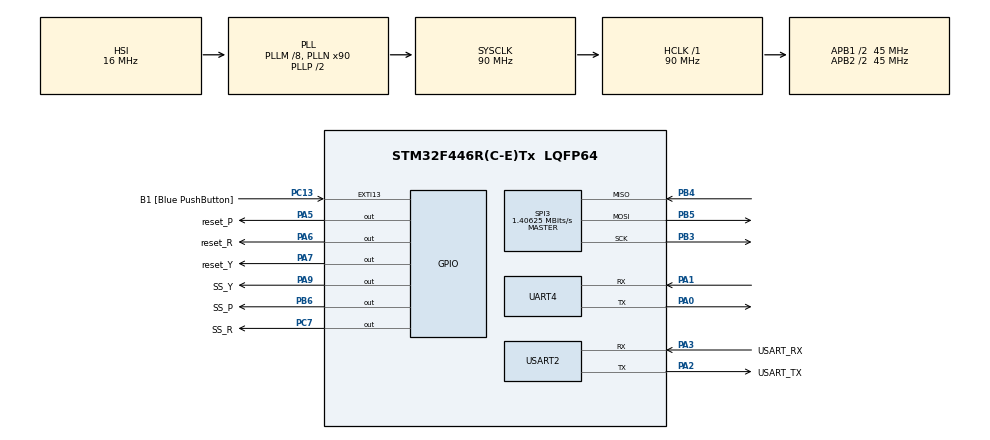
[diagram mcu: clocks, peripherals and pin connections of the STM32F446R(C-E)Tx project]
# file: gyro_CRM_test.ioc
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Mcu.Family=STM32F4
Mcu.Name=STM32F446R(C-E)Tx
Mcu.Package=LQFP64
NVIC.PriorityGroup=NVIC_PRIORITYGROUP_0
NVIC.TIM2_IRQn=true\:0\:0\:false\:false\:true\:true\:true
PA0-WKUP.Mode=Asynchronous
PA0-WKUP.Signal=UART4_TX
PA1.Mode=Asynchronous
PA1.Signal=UART4_RX
PA13.GPIO_Label=TMS
PA13.Mode=Serial_Wire
PA13.Signal=SYS_JTMS-SWDIO
PA14.GPIO_Label=TCK
PA14.Mode=Serial_Wire
PA14.Signal=SYS_JTCK-SWCLK
PA2.GPIO_Label=USART_TX
PA2.Mode=Asynchronous
PA2.Signal=USART2_TX
PA3.GPIO_Label=USART_RX
PA3.Mode=Asynchronous
PA3.Signal=USART2_RX
PA5.GPIO_Label=reset_P
PA5.GPIO_Speed=GPIO_SPEED_FREQ_VERY_HIGH
PA5.PinState=GPIO_PIN_SET
PA5.Signal=GPIO_Output
PA6.GPIO_Label=reset_R
PA6.GPIO_Speed=GPIO_SPEED_FREQ_VERY_HIGH
PA6.PinState=GPIO_PIN_SET
PA6.Signal=GPIO_Output
PA7.GPIO_Label=reset_Y
PA7.GPIO_Speed=GPIO_SPEED_FREQ_VERY_HIGH
PA7.PinState=GPIO_PIN_SET
PA7.Signal=GPIO_Output
PA9.GPIO_Label=SS_Y
PA9.GPIO_Speed=GPIO_SPEED_FREQ_VERY_HIGH
PA9.PinState=GPIO_PIN_SET
PA9.Signal=GPIO_Output
PB3.Mode=Full_Duplex_Master
PB3.Signal=SPI3_SCK
PB4.Mode=Full_Duplex_Master
PB4.Signal=SPI3_MISO
PB5.Mode=Full_Duplex_Master
PB5.Signal=SPI3_MOSI
PB6.GPIO_Label=SS_P
PB6.GPIO_Speed=GPIO_SPEED_FREQ_VERY_HIGH
PB6.PinState=GPIO_PIN_SET
PB6.Signal=GPIO_Output
PC13.GPIO_Label=B1 [Blue PushButton]
PC13.GPIO_ModeDefaultEXTI=GPIO_MODE_IT_FALLING
PC13.Signal=GPXTI13
PC14-OSC32_IN.Mode=LSE-External-Oscillator
PC14-OSC32_IN.Signal=RCC_OSC32_IN
PC15-OSC32_OUT.Mode=LSE-External-Oscillator
PC15-OSC32_OUT.Signal=RCC_OSC32_OUT
PC7.GPIO_Label=SS_R
PC7.GPIO_Speed=GPIO_SPEED_FREQ_VERY_HIGH
PC7.PinState=GPIO_PIN_SET
PC7.Signal=GPIO_Output
PH0-OSC_IN.Mode=HSE-External-Oscillator
PH0-OSC_IN.Signal=RCC_OSC_IN
PH1-OSC_OUT.Mode=HSE-External-Oscillator
PH1-OSC_OUT.Signal=RCC_OSC_OUT
ProjectManager.HeapSize=0x200
ProjectManager.StackSize=0x400
ProjectManager.TargetToolchain=STM32CubeIDE
RCC.48MHZClocksFreq_Value=84000000
RCC.AHBFreq_Value=90000000
RCC.APB1CLKDivider=RCC_HCLK_DIV2
RCC.APB1Freq_Value=45000000
RCC.APB1TimFreq_Value=90000000
RCC.APB2CLKDivider=RCC_HCLK_DIV2
RCC.APB2Freq_Value=45000000
RCC.APB2TimFreq_Value=90000000
RCC.CortexFreq_Value=90000000
RCC.FLatency-AdvancedSettings=FLASH_LATENCY_2
RCC.HCLKFreq_Value=90000000
RCC.HSE_VALUE=8000000
RCC.HSI_VALUE=16000000
RCC.PLLM=8
RCC.PLLN=90
RCC.SYSCLKFreq_VALUE=90000000
RCC.SYSCLKSource=RCC_SYSCLKSOURCE_PLLCLK
RCC.USBFreq_Value=90000000
RCC.VCOOutputFreq_Value=180000000
SPI3.BaudRatePrescaler=SPI_BAUDRATEPRESCALER_32
SPI3.CRCCalculation=SPI_CRCCALCULATION_DISABLE
SPI3.CalculateBaudRate=1.40625 MBits/s
SPI3.Direction=SPI_DIRECTION_2LINES
SPI3.Mode=SPI_MODE_MASTER
SPI3.VirtualType=VM_MASTER
TIM2.AutoReloadPreload=TIM_AUTORELOAD_PRELOAD_ENABLE
TIM2.Period=19999
TIM2.Prescaler=90
UART4.VirtualMode=Asynchronous
USART2.VirtualMode=VM_ASYNC
VP_TIM2_VS_ClockSourceINT.Mode=Internal
board=NUCLEO-F446RE

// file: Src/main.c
/* USER CODE BEGIN Header */
/**
  ******************************************************************************
  * @file           : main.c
  * @brief          : Main program body
  ******************************************************************************
  * @attention
  *
  * <h2><center>&copy; Copyright (c) 2019 STMicroelectronics.
  * All rights reserved.</center></h2>
  *
  * This software component is licensed by ST under BSD 3-Clause license,
  * the "License"; You may not use this file except in compliance with the
  * License. You may obtain a copy of the License at:
  *                        opensource.org/licenses/BSD-3-Clause
  *
  ******************************************************************************
  */
/* USER CODE END Header */

#include "main.h"

/* USER CODE BEGIN Includes */
#include "stdio.h"
/* USER CODE END Includes */

SPI_HandleTypeDef hspi3;

TIM_HandleTypeDef htim2;

UART_HandleTypeDef huart4;
UART_HandleTypeDef huart2;

/* USER CODE BEGIN PV */

#ifdef __GNUC__
#define PUTCHAR_PROTOTYPE int __io_putchar(int ch)
#else
#define PUTCHAR_PROTOTYPE int fputc(int ch, FILE *f)
#endif /* __GNUC__ */
void __io_putchar(uint8_t ch) {
	HAL_UART_Transmit(&huart2, &ch, 1, 1);
	HAL_UART_Transmit(&huart4, &ch, 1, 1);
}

/* USER CODE END PV */

void SystemClock_Config(void);
static void MX_GPIO_Init(void);
static void MX_USART2_UART_Init(void);
static void MX_SPI3_Init(void);
static void MX_UART4_Init(void);
static void MX_TIM2_Init(void);

/* USER CODE BEGIN 0 */

//ジャイロと通信
HAL_StatusTypeDef data_transfer_CRM(
	SPI_HandleTypeDef* hspi, GPIO_TypeDef* GPIOx,uint16_t GPIO_Pin,
	const uint8_t command, uint8_t receive_data[],	uint32_t Timeout)
{
	uint8_t send_data[6] = { 0 };
	send_data[0] = command;
	send_data[5] = ~(send_data[0] + send_data[1] + send_data[2] + send_data[3] + send_data[4]); //CHECKSUM

	HAL_GPIO_WritePin(GPIOx, GPIO_Pin, GPIO_PIN_RESET);
	HAL_Delay(1);
	HAL_StatusTypeDef ret = HAL_SPI_TransmitReceive(hspi, send_data, receive_data,6, Timeout);
	HAL_Delay(1);
	HAL_GPIO_WritePin(GPIOx, GPIO_Pin, GPIO_PIN_SET);

	return ret;

}
/* USER CODE END 0 */

int main(void)
{

  /* MCU Configuration--------------------------------------------------------*/

  /* Reset of all peripherals, Initializes the Flash interface and the Systick. */
  HAL_Init();

  /* Configure the system clock */
  SystemClock_Config();

  /* Initialize all configured peripherals */
  MX_GPIO_Init();
  MX_USART2_UART_Init();
  MX_SPI3_Init();
  MX_UART4_Init();
  MX_TIM2_Init();
  /* USER CODE BEGIN 2 */

  printf("Hello CRM100 CRM200 test.\n");

  HAL_Delay(500);

  Roll = SetCRM_port(&hspi3, SS_R_GPIO_Port, SS_R_Pin, reset_R_GPIO_Port, reset_R_Pin);
  Pitch= SetCRM_port(&hspi3, SS_P_GPIO_Port, SS_P_Pin, reset_P_GPIO_Port, reset_P_Pin);
  Yaw  = SetCRM_port(&hspi3, SS_Y_GPIO_Port, SS_Y_Pin, reset_Y_GPIO_Port, reset_Y_Pin);

  //RESET
  printf("Reset...");
  ResetCRM(&Roll);
  ResetCRM(&Pitch);
  ResetCRM(&Yaw);
  printf("Done!\n");

  //Set Range
  const uint16_t range = 75;
  printf("SetCRM_range = %d deg/s\n", range);
  SetCRM_range(&Roll ,range);
  SetCRM_range(&Pitch, range);
  SetCRM_range(&Yaw  , range);
  HAL_TIM_Base_Start_IT(&htim2);
  counter = 0;
  /* USER CODE END 2 */

  /* Infinite loop */
  while (1)
  {

    /* USER CODE BEGIN 3 */
	  unsigned int counter_before = counter;
	  UpdateCRM(&Roll , 100);
	  UpdateCRM(&Pitch, 100);
	  UpdateCRM(&Yaw  , 100);

	  /*
	  printf("%d[R P Y] S[%02X %02X %02X] T[%5.2f %5.2f %5.2f] R[%+8.3f %+8.3f %+8.3f]\n",
		  counter,
		  Roll.status       , Pitch.status       , Yaw.status       ,
		  Roll.temperature_f, Pitch.temperature_f, Yaw.temperature_f,
		  Roll.rate_f       , Pitch.rate_f       , Yaw.rate_f       );
	  */
	  //printf("%d,%+8.3f,%+8.3f,%+8.3f\n", counter, Roll.rate_f, Pitch.rate_f, Yaw.rate_f);

	  printf("%d,%2d,%5.2f,%+8.3f,%2d,%5.2f,%+8.3f,%2d,%5.2f,%+8.3f,\n",
	  		  counter,
	  		  Roll.status , Roll.temperature_f , Roll.rate_f ,
			  Pitch.status, Pitch.temperature_f, Pitch.rate_f,
			  Yaw.status  , Yaw.temperature_f  , Yaw.rate_f   );
	  while(counter==counter_before);
  }
  /* USER CODE END 3 */
}

void SystemClock_Config(void)
{
  RCC_OscInitTypeDef RCC_OscInitStruct = {0};
  RCC_ClkInitTypeDef RCC_ClkInitStruct = {0};

  /** Configure the main internal regulator output voltage
  */
  __HAL_RCC_PWR_CLK_ENABLE();
  __HAL_PWR_VOLTAGESCALING_CONFIG(PWR_REGULATOR_VOLTAGE_SCALE3);
  /** Initializes the CPU, AHB and APB busses clocks
  */
  RCC_OscInitStruct.OscillatorType = RCC_OSCILLATORTYPE_HSI;
  RCC_OscInitStruct.HSIState = RCC_HSI_ON;
  RCC_OscInitStruct.HSICalibrationValue = RCC_HSICALIBRATION_DEFAULT;
  RCC_OscInitStruct.PLL.PLLState = RCC_PLL_ON;
  RCC_OscInitStruct.PLL.PLLSource = RCC_PLLSOURCE_HSI;
  RCC_OscInitStruct.PLL.PLLM = 8;
  RCC_OscInitStruct.PLL.PLLN = 90;
  RCC_OscInitStruct.PLL.PLLP = RCC_PLLP_DIV2;
  RCC_OscInitStruct.PLL.PLLQ = 2;
  RCC_OscInitStruct.PLL.PLLR = 2;
  if (HAL_RCC_OscConfig(&RCC_OscInitStruct) != HAL_OK)
  {
    Error_Handler();
  }
  /** Initializes the CPU, AHB and APB busses clocks
  */
  RCC_ClkInitStruct.ClockType = RCC_CLOCKTYPE_HCLK|RCC_CLOCKTYPE_SYSCLK
                              |RCC_CLOCKTYPE_PCLK1|RCC_CLOCKTYPE_PCLK2;
  RCC_ClkInitStruct.SYSCLKSource = RCC_SYSCLKSOURCE_PLLCLK;
  RCC_ClkInitStruct.AHBCLKDivider = RCC_SYSCLK_DIV1;
  RCC_ClkInitStruct.APB1CLKDivider = RCC_HCLK_DIV2;
  RCC_ClkInitStruct.APB2CLKDivider = RCC_HCLK_DIV2;

  if (HAL_RCC_ClockConfig(&RCC_ClkInitStruct, FLASH_LATENCY_2) != HAL_OK)
  {
    Error_Handler();
  }
}

static void MX_SPI3_Init(void)
{

  /* SPI3 parameter configuration*/
  hspi3.Instance = SPI3;
  hspi3.Init.Mode = SPI_MODE_MASTER;
  hspi3.Init.Direction = SPI_DIRECTION_2LINES;
  hspi3.Init.DataSize = SPI_DATASIZE_8BIT;
  hspi3.Init.CLKPolarity = SPI_POLARITY_LOW;
  hspi3.Init.CLKPhase = SPI_PHASE_1EDGE;
  hspi3.Init.NSS = SPI_NSS_SOFT;
  hspi3.Init.BaudRatePrescaler = SPI_BAUDRATEPRESCALER_32;
  hspi3.Init.FirstBit = SPI_FIRSTBIT_MSB;
  hspi3.Init.TIMode = SPI_TIMODE_DISABLE;
  hspi3.Init.CRCCalculation = SPI_CRCCALCULATION_DISABLE;
  hspi3.Init.CRCPolynomial = 10;
  if (HAL_SPI_Init(&hspi3) != HAL_OK)
  {
    Error_Handler();
  }

}

static void MX_TIM2_Init(void)
{

  TIM_ClockConfigTypeDef sClockSourceConfig = {0};
  TIM_MasterConfigTypeDef sMasterConfig = {0};

  htim2.Instance = TIM2;
  htim2.Init.Prescaler = 90;
  htim2.Init.CounterMode = TIM_COUNTERMODE_UP;
  htim2.Init.Period = 19999;
  htim2.Init.ClockDivision = TIM_CLOCKDIVISION_DIV1;
  htim2.Init.AutoReloadPreload = TIM_AUTORELOAD_PRELOAD_ENABLE;
  if (HAL_TIM_Base_Init(&htim2) != HAL_OK)
  {
    Error_Handler();
  }
  sClockSourceConfig.ClockSource = TIM_CLOCKSOURCE_INTERNAL;
  if (HAL_TIM_ConfigClockSource(&htim2, &sClockSourceConfig) != HAL_OK)
  {
    Error_Handler();
  }
  sMasterConfig.MasterOutputTrigger = TIM_TRGO_RESET;
  sMasterConfig.MasterSlaveMode = TIM_MASTERSLAVEMODE_DISABLE;
  if (HAL_TIMEx_MasterConfigSynchronization(&htim2, &sMasterConfig) != HAL_OK)
  {
    Error_Handler();
  }

}

static void MX_UART4_Init(void)
{

  huart4.Instance = UART4;
  huart4.Init.BaudRate = 115200;
  huart4.Init.WordLength = UART_WORDLENGTH_8B;
  huart4.Init.StopBits = UART_STOPBITS_1;
  huart4.Init.Parity = UART_PARITY_NONE;
  huart4.Init.Mode = UART_MODE_TX_RX;
  huart4.Init.HwFlowCtl = UART_HWCONTROL_NONE;
  huart4.Init.OverSampling = UART_OVERSAMPLING_16;
  if (HAL_UART_Init(&huart4) != HAL_OK)
  {
    Error_Handler();
  }

}

static void MX_USART2_UART_Init(void)
{

  huart2.Instance = USART2;
  huart2.Init.BaudRate = 115200;
  huart2.Init.WordLength = UART_WORDLENGTH_8B;
  huart2.Init.StopBits = UART_STOPBITS_1;
  huart2.Init.Parity = UART_PARITY_NONE;
  huart2.Init.Mode = UART_MODE_TX_RX;
  huart2.Init.HwFlowCtl = UART_HWCONTROL_NONE;
  huart2.Init.OverSampling = UART_OVERSAMPLING_16;
  if (HAL_UART_Init(&huart2) != HAL_OK)
  {
    Error_Handler();
  }

}

static void MX_GPIO_Init(void)
{
  GPIO_InitTypeDef GPIO_InitStruct = {0};

  /* GPIO Ports Clock Enable */
  __HAL_RCC_GPIOC_CLK_ENABLE();
  __HAL_RCC_GPIOH_CLK_ENABLE();
  __HAL_RCC_GPIOA_CLK_ENABLE();
  __HAL_RCC_GPIOB_CLK_ENABLE();

  /*Configure GPIO pin Output Level */
  HAL_GPIO_WritePin(GPIOA, reset_P_Pin|reset_R_Pin|reset_Y_Pin|SS_Y_Pin, GPIO_PIN_SET);

  /*Configure GPIO pin Output Level */
  HAL_GPIO_WritePin(SS_R_GPIO_Port, SS_R_Pin, GPIO_PIN_SET);

  /*Configure GPIO pin Output Level */
  HAL_GPIO_WritePin(SS_P_GPIO_Port, SS_P_Pin, GPIO_PIN_SET);

  /*Configure GPIO pin : B1_Pin */
  GPIO_InitStruct.Pin = B1_Pin;
  GPIO_InitStruct.Mode = GPIO_MODE_IT_FALLING;
  GPIO_InitStruct.Pull = GPIO_NOPULL;
  HAL_GPIO_Init(B1_GPIO_Port, &GPIO_InitStruct);

  /*Configure GPIO pins : reset_P_Pin reset_R_Pin reset_Y_Pin SS_Y_Pin */
  GPIO_InitStruct.Pin = reset_P_Pin|reset_R_Pin|reset_Y_Pin|SS_Y_Pin;
  GPIO_InitStruct.Mode = GPIO_MODE_OUTPUT_PP;
  GPIO_InitStruct.Pull = GPIO_NOPULL;
  GPIO_InitStruct.Speed = GPIO_SPEED_FREQ_VERY_HIGH;
  HAL_GPIO_Init(GPIOA, &GPIO_InitStruct);

  /*Configure GPIO pin : SS_R_Pin */
  GPIO_InitStruct.Pin = SS_R_Pin;
  GPIO_InitStruct.Mode = GPIO_MODE_OUTPUT_PP;
  GPIO_InitStruct.Pull = GPIO_NOPULL;
  GPIO_InitStruct.Speed = GPIO_SPEED_FREQ_VERY_HIGH;
  HAL_GPIO_Init(SS_R_GPIO_Port, &GPIO_InitStruct);

  /*Configure GPIO pin : SS_P_Pin */
  GPIO_InitStruct.Pin = SS_P_Pin;
  GPIO_InitStruct.Mode = GPIO_MODE_OUTPUT_PP;
  GPIO_InitStruct.Pull = GPIO_NOPULL;
  GPIO_InitStruct.Speed = GPIO_SPEED_FREQ_VERY_HIGH;
  HAL_GPIO_Init(SS_P_GPIO_Port, &GPIO_InitStruct);

}

void Error_Handler(void)
{
}

/************************ (C) COPYRIGHT STMicroelectronics *****END OF FILE****/
